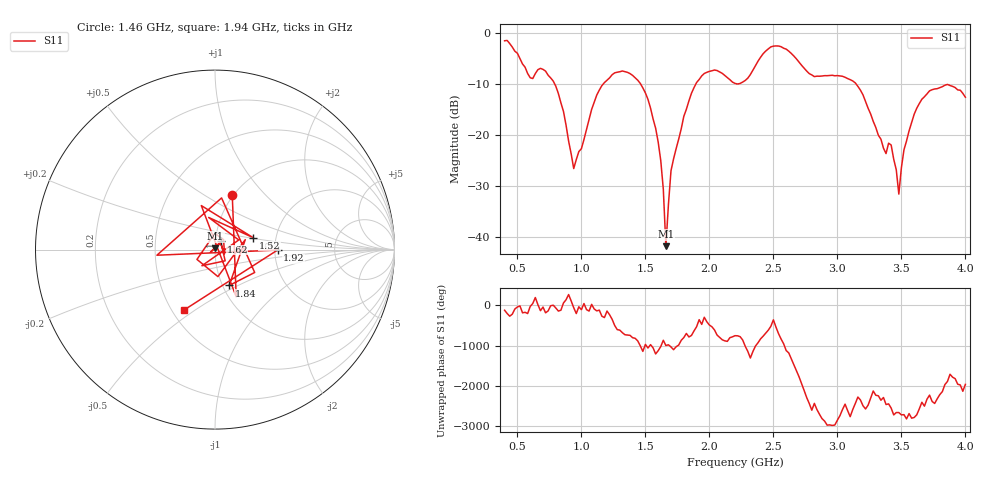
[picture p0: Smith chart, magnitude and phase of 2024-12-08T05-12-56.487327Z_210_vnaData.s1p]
!Created with skrf (http://scikit-rf.org).
# Hz S RI R 50.0
!freq ReS11 ImS11
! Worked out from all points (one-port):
!   181 points, 400 MHz to 4 GHz, reference 50 ohm
!   lowest |S11| = -41.9 dB at 1.66 GHz (marker M1), VSWR 1.02, Z = 50.1 + j0.794 ohm
!   |S11| at or under -10 dB: 790.4 MHz to 1.172 GHz (381.8 MHz wide, 38.9 % of centre); 1.461 GHz to 1.895 GHz (433.6 MHz wide, 25.8 % of centre); 3.145 GHz to end of sweep (the widest 3 of 4)
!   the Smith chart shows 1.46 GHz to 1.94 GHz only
!   S11 on the Smith chart (normalised r, x): 1.46 GHz: 0.99, +0.67; 1.52 GHz: 1.52, +0.21; 1.62 GHz: 1.06, +0.10; 1.84 GHz: 1.07, -0.45; 1.92 GHz: 2.07, -0.01; 1.94 GHz: 0.58, -0.45
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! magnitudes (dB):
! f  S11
! 400 MHz  -1.6
! 600 MHz  -8.8
! 720 MHz  -7.5
! 860 MHz  -15.4
! 940 MHz  -26.6
! 1.12 GHz  -12.2
! 1.3 GHz  -7.6
! 1.46 GHz  -9.9
! 1.52 GHz  -13.1
! 1.62 GHz  -25.1
! 1.64 GHz  -30.7
! 1.66 GHz  -41.9
! 1.7 GHz  -27.1
! 1.76 GHz  -20.9
! 1.84 GHz  -13.4
! 1.92 GHz  -9.2
! 1.94 GHz  -8.5
! 2.2 GHz  -9.9
! 2.48 GHz  -2.8
! 2.66 GHz  -4.6
! 3.1 GHz  -9.2
! 3.38 GHz  -23.7
! 3.42 GHz  -22.0
! 3.48 GHz  -31.7
! 3.52 GHz  -23.0
! 3.56 GHz  -19.2
! 3.72 GHz  -11.4
! 4 GHz  -12.6
